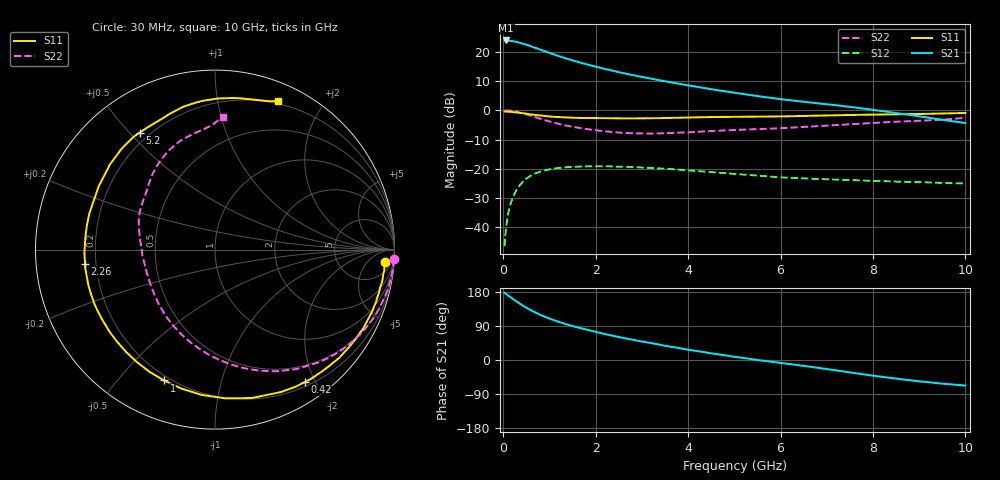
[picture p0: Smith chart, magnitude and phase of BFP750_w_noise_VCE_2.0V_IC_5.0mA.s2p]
! Infineon Technologies  Discrete & RF Semiconductors
! BFP750
! VCE =  2.0 V,  IC =  5.0 mA
! Common Emitter S-Parameters:  Jan 2016
# GHz  S  MA  R  50
!  f  S11  S21  S12  S22
! GHz  MAG  ANG  MAG  ANG  MAG  ANG  MAG  ANG
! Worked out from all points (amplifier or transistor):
!   229 points, 30 MHz to 10 GHz, reference 50 ohm
!   highest |S21| = 23.8 dB at 60 MHz (marker M1)
!   |S21| within 3 dB of that: start of sweep to 781.1 MHz
!   unconditionally stable (mu >= 1): 5.57 GHz to end of sweep
!   at 280 MHz: K = 0.05, MSG = 25.4 dB, |S12| = -27.4 dB
!   at 1.78 GHz: K = 0.24, MSG = 17.5 dB, |S12| = -19.1 dB
!   at 10 GHz: K = 1.31, MAG = 7.0 dB, |S12| = -25.0 dB
!   lowest NFmin = 0.59 dB at 450 MHz
!   S11 on the Smith chart (normalised r, x): 30 MHz: 13, -18; 420 MHz: 0.26, -1.86; 1 GHz: 0.18, -0.67; 2.26 GHz: 0.16, -0.05; 5.2 GHz: 0.16, +0.53; 10 GHz: 0.17, +1.50
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0.03  0.9502 -4.2  15.37 177.2  0.0048 86.7  0.9981 -3.1
0.06  0.9471 -8.4  15.5 174.4  0.0098 84.6  0.9967 -6.2
0.15  0.9419 -20.9  15.3 166.4  0.0238 77.5  0.9832 -15.3
0.28  0.9202 -38.3  14.67 155.2  0.0426 67.2  0.9445 -28.1
0.42  0.8916 -55.9  13.74 143.9  0.0598 57.0  0.8872 -40.9
0.5  0.8745 -65.2  13.15 138.0  0.0682 51.7  0.8513 -47.7
0.58  0.854 -73.9  12.49 132.5  0.0751 46.7  0.813 -54.1
0.7  0.8308 -86.0  11.58 124.9  0.084 40.0  0.7597 -63.2
0.82  0.8085 -96.8  10.7 118.2  0.0906 34.1  0.7088 -71.3
1  0.7823 -111.3  9.499 109.2  0.0981 26.4  0.6439 -82.5
1.3  0.7553 -130.9  7.924 96.7  0.1055 16.1  0.5618 -98.5
1.52  0.7434 -142.9  7.012 88.9  0.1084 10.0  0.5184 -108.8
1.7  0.7385 -151.6  6.392 83.1  0.1099 5.5  0.4909 -116.4
2.26  0.7282 -173.8  4.941 66.9  0.1105 -6.4  0.4323 -137.4
2.8  0.7267 169.5  3.977 53.3  0.1074 -15.6  0.4049 -155.5
3.4  0.7329 154.1  3.224 40.1  0.1018 -24.0  0.4028 -172.7
4  0.7534 141.0  2.658 27.0  0.0946 -31.1  0.4203 172.8
5.1  0.775 124.2  1.937 7.0  0.081 -39.1  0.4648 155.3
5.2  0.7751 122.8  1.886 5.3  0.0799 -39.6  0.4673 153.9
6.8  0.8081 104.6  1.316 -20.4  0.0672 -43.2  0.5359 131.5
8.4  0.8503 83.3  0.92 -47.5  0.0611 -45.5  0.6318 108.9
10  0.8997 66.9  0.606 -67.3  0.0563 -46.2  0.7412 86.7
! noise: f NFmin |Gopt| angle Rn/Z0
0.45  0.59  0.43  1  0.13
0.9  0.61  0.36  29  0.13
1.5  0.68  0.26  71  0.11
1.9  0.74  0.25  97  0.07
2.4  0.84  0.25  127  0.1
3.5  1.23  0.3  174  0.08
